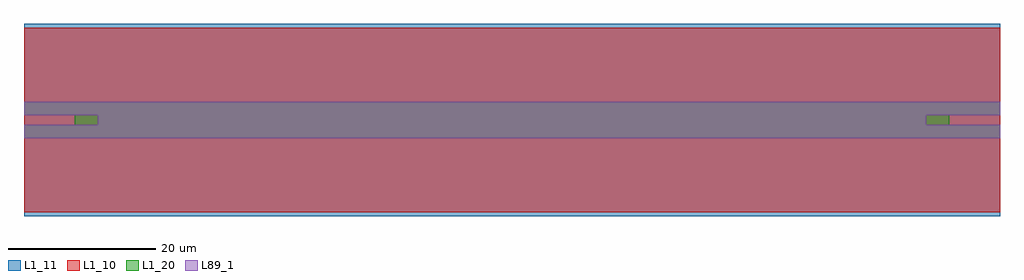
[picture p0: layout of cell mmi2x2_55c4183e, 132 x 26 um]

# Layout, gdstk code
import gdstk
lib = gdstk.Library(unit=1e-6, precision=1e-09)
def R(c, l, rs):  # rectangles x0, y0, x1, y1
    for r in rs: c.add(gdstk.rectangle(r[:2], r[2:], *l))
L1_10 = (1, 10)
L1_11 = (1, 11)
L1_20 = (1, 20)
L89_1 = (89, 1)

mmi2x2_55c4183e = lib.new_cell('mmi2x2_55c4183e')
R(mmi2x2_55c4183e, L1_10, [(-10,-12.5,0,9.375), (-3.125,-12.5,115.125,12.5), (112,-12.5,122,9.375), (-10,-9.375,0,12.5), (112,-9.375,122,12.5)])
R(mmi2x2_55c4183e, L1_11, [(-10,-13,0,9.875), (-3.125,-13,115.125,13), (112,-13,122,9.875), (-10,-9.875,0,13), (112,-9.875,122,13)])
R(mmi2x2_55c4183e, L1_20, [(-10,-2.5,0,-0.625), (-3.125,-2.5,115.125,2.5), (112,-2.5,122,-0.625), (-10,0.625,0,2.5), (112,0.625,122,2.5)])
R(mmi2x2_55c4183e, L89_1, [(-10,-2.5,0,-0.625), (0,-2.5,112,2.5), (112,-2.5,122,-0.625), (-10,0.625,0,2.5), (112,0.625,122,2.5)])

lib.write_gds('mmi2x2_55c4183e.gds')
